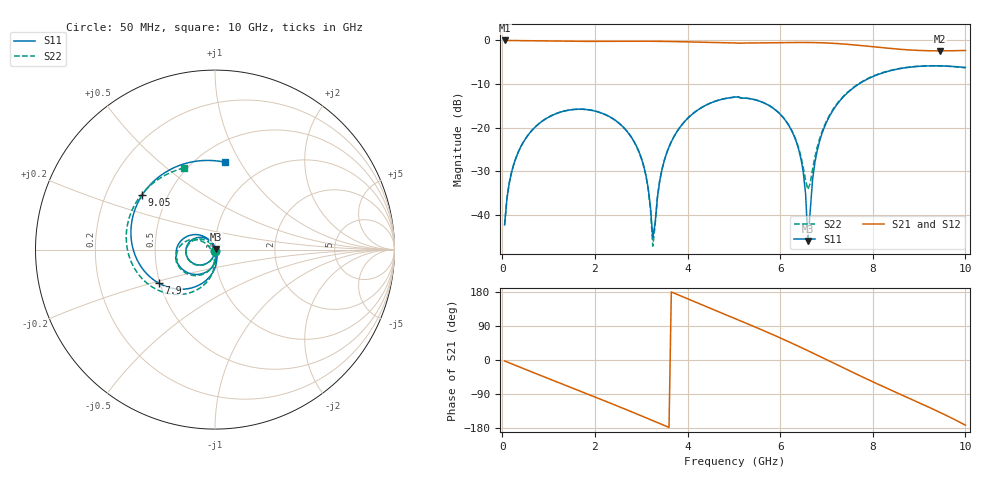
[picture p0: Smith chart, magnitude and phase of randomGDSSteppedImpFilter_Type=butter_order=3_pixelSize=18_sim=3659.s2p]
! freq	dB(S11)	phase(S11)	dB(S12)	phase(S12)
!  dB(S21)	phase(S21)	dB(S22)	phase(S22)
!S-par simulation data
#  GHz  S  DB  R 50
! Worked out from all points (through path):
!   200 points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, 50 MHz to 10 GHz, reference 50 ohm
!   highest |S21| = 0.00 dB at 50 MHz (marker M1); lowest = -2.4 dB at 9.45 GHz (marker M2)
!   group delay of S21, straight-line fit = 147 ps
!   lowest |S11| = -46.0 dB at 6.6 GHz (marker M3), VSWR 1.01, Z = 50.3 + j0.393 ohm
!   |S11| at or under -10 dB: start of sweep to 7.698 GHz
!   |S22| runs from -47.2 to -5.8 dB; largest |S21 - S12| = 0
!   S11 on the Smith chart (normalised r, x): 50 MHz: 1.00, -0.02; 7.9 GHz: 0.49, -0.21; 9.05 GHz: 0.36, +0.29; 10 GHz: 0.68, +0.87
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0.05  -42.30 -92.6  -0.00 -2.5  -0.00 -2.5  -42.30 -92.5
0.2  -30.24 -100.4  -0.02 -10.0  -0.02 -10.0  -30.24 -100.1
0.5  -22.56 -115.6  -0.05 -24.8  -0.05 -24.8  -22.56 -114.8
1.75  -15.79 -177.9  -0.21 -85.5  -0.21 -85.5  -15.79 -174.9
2.9  -24.31 121.6  -0.18 -142.1  -0.18 -142.1  -24.36 131.8
3.15  -33.83 99.8  -0.19 -154.8  -0.19 -154.8  -34.05 126.3
3.25  -45.23 43.0  -0.19 -159.9  -0.19 -159.9  -47.18 174.0
3.4  -32.18 -68.8  -0.21 -167.6  -0.21 -167.6  -32.13 -84.8
3.6  -24.43 -85.8  -0.24 -177.9  -0.24 -177.9  -24.39 -89.9
3.95  -18.46 -106.3  -0.32 164.1  -0.32 164.1  -18.43 -105.6
5.05  -12.96 -164.8  -0.58 107.9  -0.58 107.9  -12.93 -158.6
6.25  -20.72 129.3  -0.47 44.5  -0.47 44.5  -20.64 148.1
6.5  -30.29 111.4  -0.46 30.3  -0.46 30.3  -29.18 156.2
6.55  -35.27 104.5  -0.47 27.4  -0.47 27.4  -32.13 171.4
6.6  -45.96 50.9  -0.47 24.5  -0.47 24.5  -34.18 -157.7
6.7  -31.95 -70.1  -0.48 18.7  -0.48 18.7  -29.59 -104.2
7.05  -17.70 -96.1  -0.60 -1.9  -0.60 -1.9  -17.45 -96.7
7.9  -8.78 -148.8  -1.34 -51.8  -1.34 -51.8  -8.69 -139.1
8.35  -7.02 -175.6  -1.81 -77.1  -1.81 -77.1  -6.95 -162.5
9.05  -5.90 143.2  -2.32 -115.6  -2.32 -115.6  -5.87 162.0
9.45  -5.83 119.1  -2.39 -138.2  -2.39 -138.2  -5.84 141.3
10  -6.20 83.2  -2.31 -172.0  -2.31 -172.0  -6.26 110.6
